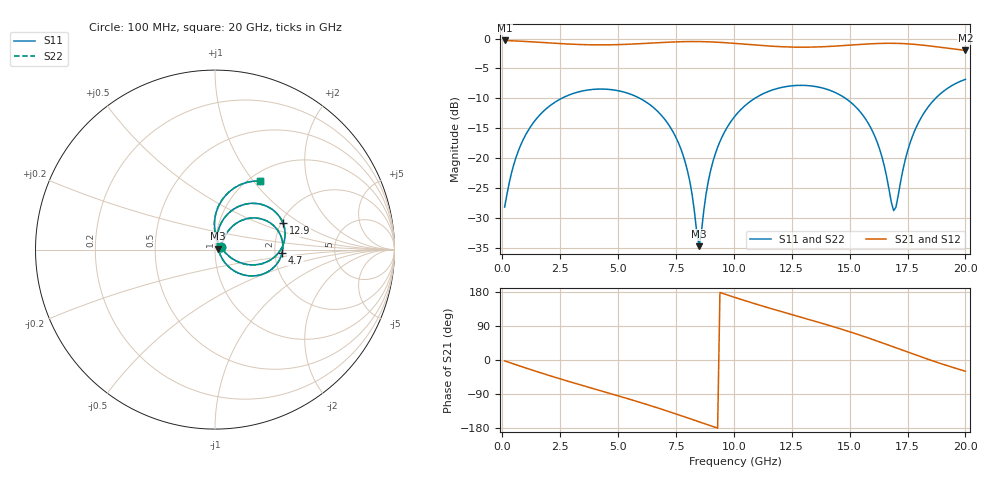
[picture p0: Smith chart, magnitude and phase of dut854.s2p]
! Touchstone file exported from HFSS 2026.1.0
!  File:  C:/ffzhzh/LocalFiles/Ansys_Project_Files/temp_train_TSV_RDL_854_1783269922_38820.aedt
!  Generated:  12:59:27 AM Jul  6, 2026
!  Design:  TSV_RDL
!  Project:  temp_train_TSV_RDL_854_1783269922_38820
! Variables:
!  h_bsmrdl = 5.5um
!  h_ox = 20um
!  h_rdl = 5um
!  h_sub = 91.13um
!  h_tmrdl = 2.34um
!  h_tsv = 91.13um
!  h_via = 3um
!  l_bsmrdl = 655.52um
!  l_sub = 6094.42um
!  l_tmrdl = 896.4um
!  m_sub = 200um
!  pitch = 41.49um
!  r_tsv = 12.49um
!  s_tmrdl = 10um
!  w_bsmrdl = 29.52um
!  w_sub = 500um
!  w_tmrdl = 17.9um
!  x_tsv_center1 = 905.35um
!  x_tsv_center2 = 1590.39um
!  x_tsv_center3 = 2504.69um
!  x_tsv_center4 = 3189.73um
!  x_tsv_center5 = 4104.03um
!  x_tsv_center6 = 4789.07um
# GHz S MA R 50.000000
! Terminal data exported
! Port[1] = TM_RDL1_1_T1
! Port[2] = TM_RDL5_1_T1
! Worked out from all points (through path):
!   200 points, 100 MHz to 20 GHz, reference 50 ohm
!   highest |S21| = -0.31 dB at 100 MHz (marker M1); lowest = -2.0 dB at 20 GHz (marker M2)
!   group delay of S21, straight-line fit = 53.7 ps
!   lowest |S11| = -34.7 dB at 8.5 GHz (marker M3), VSWR 1.04, Z = 51.8 + j0.487 ohm
!   |S11| at or under -10 dB: start of sweep to 2.56 GHz; 5.944 GHz to 10.9 GHz (4.957 GHz wide, 58.9 % of centre); 14.82 GHz to 18.71 GHz (3.887 GHz wide, 23.2 % of centre)
!   |S22| runs from -34.9 to -6.8 dB; largest |S21 - S12| = 1.6e-14
!   S11 on the Smith chart (normalised r, x): 100 MHz: 1.07, +0.03; 4.7 GHz: 2.19, -0.09; 12.9 GHz: 2.05, +0.72; 20 GHz: 1.12, +1.08
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0.1  0.03895 24.4  0.965 -2.2  0.965 -2.2  0.03895 24.4
! Gamma 0 0 0 0
! Port Impedance 50 0 50 0
0.6  0.1024 54.3  0.9555 -12.7  0.9555 -12.7  0.1024 54.3
1.2  0.1807 51.7  0.9419 -24.9  0.9419 -24.9  0.1808 51.7
3.5  0.3661 16.9  0.8903 -67.9  0.8903 -67.9  0.3661 16.9
4.7  0.3744 -2.6  0.8877 -89.1  0.8877 -89.1  0.3744 -2.6
6.8  0.2363 -38.1  0.9261 -128.2  0.9261 -128.2  0.2363 -38.2
7.9  0.09254 -52.6  0.9437 -150.6  0.9437 -150.6  0.09253 -52.9
8.2  0.04925 -48.2  0.9449 -156.8  0.9449 -156.8  0.04918 -48.7
8.5  0.01835 14.8  0.9441 -163.1  0.9441 -163.1  0.01801 14.6
8.8  0.05005 76.2  0.9414 -169.4  0.9414 -169.4  0.04988 76.5
9.1  0.09399 80.5  0.9367 -175.7  0.9367 -175.7  0.09387 80.6
10.1  0.231 67.6  0.9102 164.0  0.9102 164.0  0.2309 67.6
11.3  0.3485 47.3  0.8726 141.2  0.8726 141.2  0.3484 47.3
12.9  0.4065 21.1  0.8478 112.9  0.8478 112.9  0.4065 21.0
13.4  0.4008 13.0  0.8495 104.1  0.8495 104.1  0.4007 12.9
15.6  0.2249 -22.2  0.8978 62.5  0.8978 62.5  0.2247 -22.5
16.2  0.1345 -28.0  0.9101 49.8  0.9101 49.8  0.1342 -28.5
16.7  0.05508 -13.0  0.9142 38.9  0.9142 38.9  0.05426 -13.9
16.9  0.03642 24.6  0.9137 34.4  0.9137 34.4  0.03519 24.4
17.5  0.1142 90.7  0.9044 21.1  0.9044 21.1  0.1139 91.3
18  0.2027 88.4  0.8882 10.2  0.8882 10.2  0.2025 88.7
20  0.4563 56.7  0.7973 -29.6  0.7973 -29.6  0.4562 56.7
